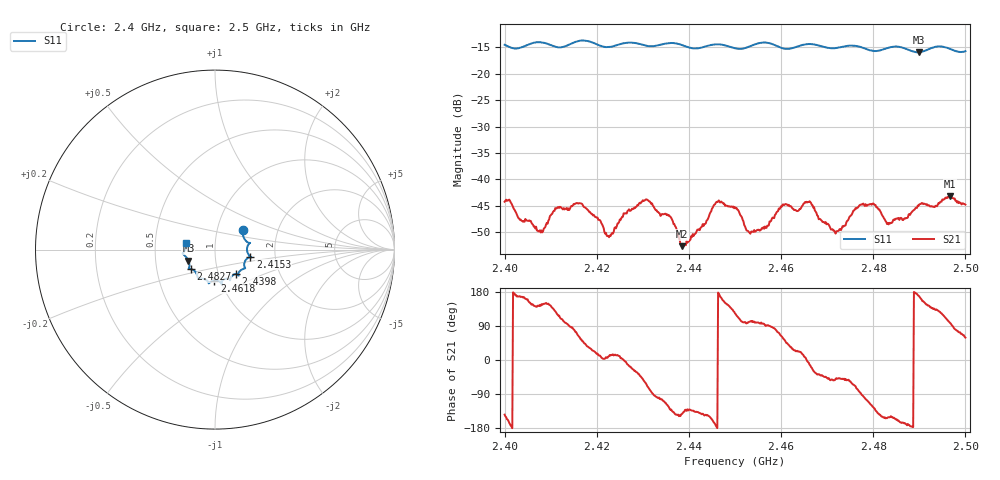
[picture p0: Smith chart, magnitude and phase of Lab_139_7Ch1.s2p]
# Hz S RI R 50
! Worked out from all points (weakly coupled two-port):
!   601 points, 2.4 GHz to 2.5 GHz, reference 50 ohm
!   highest |S21| = -43.21 dB at 2.4967 GHz (marker M1); lowest = -52.7 dB at 2.4385 GHz (marker M2)
!   lowest |S11| = -15.9 dB at 2.4898 GHz (marker M3), VSWR 1.38, Z = 36.9 - j4.63 ohm
!   |S11| at or under -10 dB: start of sweep to end of sweep
!   S12 and S22 are empty: the file has one direction only
!   S11 on the Smith chart (normalised r, x): 2.4 GHz: 1.33, +0.29; 2.4153 GHz: 1.48, -0.12; 2.4398 GHz: 1.21, -0.34; 2.4618 GHz: 0.94, -0.33; 2.4827 GHz: 0.75, -0.17; 2.5 GHz: 0.72, +0.06
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2.4e9  0.1555 0.1065  -0.00498 -0.0036  0 0  0 0
2.407833e9  0.1954 0.0375  -0.00251 0.00189  0 0  0 0
2.415333e9  0.1966 -0.0392  0.00159 0.00568  0 0  0 0
2.416667e9  0.2023 -0.0432  0.00346 0.00478  0 0  0 0
2.422667e9  0.1641 -0.0721  0.00279 0.000501  0 0  0 0
2.430333e9  0.1496 -0.1114  0.00344 -0.00526  0 0  0 0
2.433333e9  0.1301 -0.1338  -0.000882 -0.00483  0 0  0 0
2.436e9  0.1317 -0.145  -0.00293 -0.00331  0 0  0 0
2.4385e9  0.1262 -0.1382  -0.00184 -0.00143  0 0  0 0
2.439833e9  0.1157 -0.136  -0.00176 -0.00187  0 0  0 0
2.446e9  0.0843 -0.1707  -0.00611 -0.000402  0 0  0 0
2.45e9  0.0654 -0.1622  -0.00297 0.00456  0 0  0 0
2.4535e9  0.0366 -0.1804  -0.000721 0.00312  0 0  0 0
2.461833e9  -0.00358 -0.1728  0.00445 0.00335  0 0  0 0
2.466667e9  -0.0347 -0.1879  0.00536 -0.00204  0 0  0 0
2.471833e9  -0.0685 -0.1614  0.00198 -0.00234  0 0  0 0
2.4775e9  -0.0977 -0.1488  -0.000206 -0.0058  0 0  0 0
2.482667e9  -0.1349 -0.1085  -0.00363 -0.00177  0 0  0 0
2.483333e9  -0.14 -0.1082  -0.00327 -0.00182  0 0  0 0
2.489833e9  -0.1479 -0.0612  -0.00552 0.00101  0 0  0 0
2.496667e9  -0.1721 -0.0107  -0.000928 0.00685  0 0  0 0
2.5e9  -0.1592 0.0386  0.00297 0.00494  0 0  0 0
